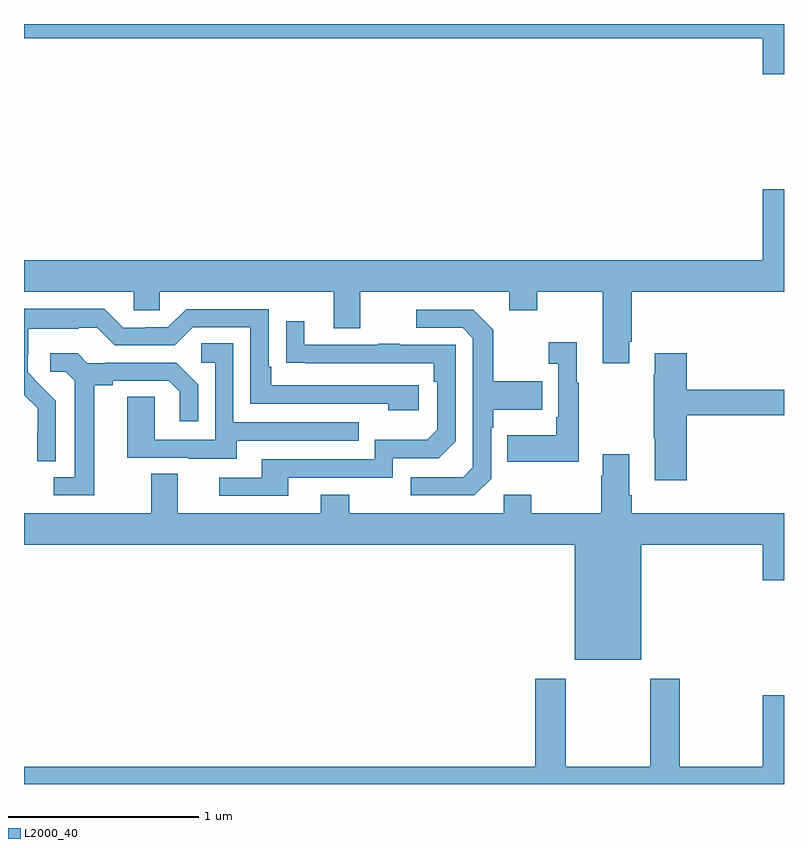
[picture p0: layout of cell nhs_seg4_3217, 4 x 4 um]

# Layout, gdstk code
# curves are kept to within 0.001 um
import gdstk
lib = gdstk.Library(unit=1e-6, precision=1e-09)
def P(c, l, *ps):  # polygons
    for p in ps: c.add(gdstk.Polygon(p, *l))
L2000_40 = (2000, 40)

nhs_seg4_3217 = lib.new_cell('nhs_seg4_3217')
P(nhs_seg4_3217, L2000_40, [(285,792.9),(281,792.9),(281,792.824),(284.888,792.824),(284.888,792.636),(285,792.636)],
  [(284.185,791.227),(284.198,791.227),(284.198,791.492),(285,791.492),(285,792.031),(284.888,792.031),(284.888,791.656),(281,791.656),(281,791.492),(281.577,791.492),(281.577,791.394),(281.715,791.394),(281.715,791.492),(282.629,791.492),(282.629,791.298),(282.769,791.298),(282.769,791.492),(283.553,791.492),(283.553,791.393),(283.701,791.393),(283.701,791.492),(284.045,791.492),(284.045,791.115),(284.185,791.115)],
  [(281.166,790.918),(281.02,791.066),(281.02,791.163),(281.022,791.163),(281.022,791.297),(281.285,791.297),(281.285,791.301),(281.385,791.301),(281.478,791.208),(281.793,791.208),(281.889,791.304),(282.192,791.304),(282.192,790.902),(282.917,790.902),(282.917,790.868),(283.078,790.868),(283.078,790.998),(282.301,790.998),(282.301,791.095),(282.288,791.095),(282.288,791.4),(281.853,791.4),(281.757,791.304),(281.639,791.304),(281.639,791.301),(281.523,791.301),(281.423,791.401),(281,791.401),(281,790.946),(281.001,790.947),(281.072,790.877),(281.072,790.754),(281.07,790.754),(281.07,790.6),(281.166,790.6)],
  [(283.458,790.506),(283.458,790.775),(283.471,790.775),(283.471,790.871),(283.727,790.871),(283.727,791.019),(283.471,791.019),(283.471,791.291),(283.365,791.397),(283.065,791.397),(283.065,791.301),(283.308,791.301),(283.362,791.247),(283.362,790.566),(283.311,790.515),(283.035,790.515),(283.035,790.419),(283.371,790.419)],
  [(282.391,790.512),(282.942,790.512),(282.942,790.614),(283.182,790.614),(283.272,790.704),(283.272,791.211),(282.977,791.211),(282.977,791.216),(282.865,791.216),(282.865,791.211),(282.475,791.211),(282.475,791.335),(282.379,791.335),(282.379,791.116),(283.156,791.115),(283.156,791.018),(283.176,791.018),(283.176,790.764),(283.123,790.711),(282.846,790.711),(282.846,790.608),(282.251,790.608),(282.251,790.512),(282.027,790.512),(282.027,790.416),(282.391,790.416)],
  [(283.921,791.011),(283.909,791.011),(283.909,791.224),(283.761,791.224),(283.761,791.111),(283.812,791.111),(283.812,790.831),(283.8,790.831),(283.8,790.735),(283.543,790.735),(283.543,790.595),(283.921,790.595)],
  [(282.121,790.707),(282.761,790.707),(282.761,790.803),(282.102,790.803),(282.102,791.219),(281.934,791.219),(281.934,791.118),(282.006,791.118),(282.006,790.713),(281.688,790.713),(281.688,790.937),(281.543,790.937),(281.543,790.617),(281.867,790.617),(281.867,790.613),(282.121,790.613)],
  [(284.489,790.84),(285,790.84),(285,790.976),(284.489,790.976),(284.489,791.167),(284.321,791.167),(284.321,791.054),(284.314,791.054),(284.314,790.723),(284.321,790.723),(284.321,790.5),(284.489,790.5)],
  [(281.371,791),(281.467,791),(281.467,791.022),(281.762,791.022),(281.819,790.965),(281.819,790.809),(281.916,790.809),(281.916,791.002),(281.8,791.118),(281.428,791.118),(281.428,791.115),(281.334,791.115),(281.282,791.167),(281.139,791.167),(281.139,791.07),(281.22,791.07),(281.267,791.023),(281.267,790.515),(281.157,790.515),(281.157,790.419),(281.371,790.419)],
  [(284.248,790.16),(284.888,790.16),(284.888,789.972),(285,789.972),(285,790.324),(284.198,790.324),(284.198,790.42),(284.185,790.42),(284.185,790.636),(284.045,790.636),(284.045,790.523),(284.038,790.523),(284.038,790.324),(283.671,790.324),(283.671,790.423),(283.524,790.423),(283.524,790.324),(282.711,790.324),(282.711,790.423),(282.563,790.423),(282.563,790.324),(281.809,790.324),(281.809,790.532),(281.669,790.532),(281.669,790.324),(281,790.324),(281,790.16),(283.898,790.16),(283.898,789.554),(284.248,789.554)],
  [(285,789.367),(284.888,789.367),(284.888,788.992),(284.451,788.992),(284.451,789.454),(284.296,789.454),(284.296,788.992),(283.851,788.992),(283.851,789.454),(283.691,789.454),(283.691,788.992),(281,788.992),(281,788.9),(285,788.9)])

lib.write_gds('nhs_seg4_3217.gds')
